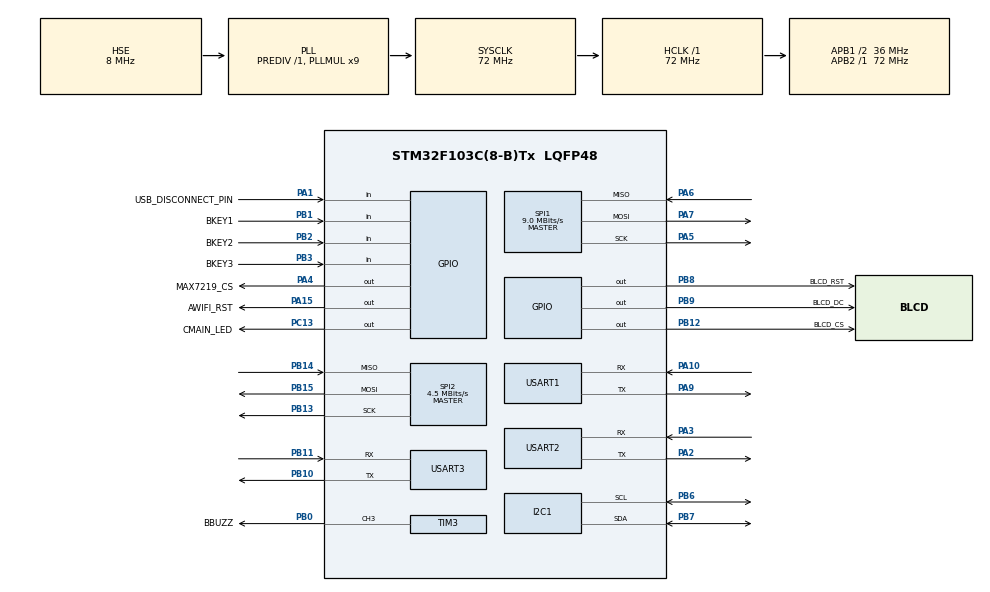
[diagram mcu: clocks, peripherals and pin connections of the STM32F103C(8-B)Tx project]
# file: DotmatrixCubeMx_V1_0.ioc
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Dma.Request0=USART3_RX
Dma.Request1=USART3_TX
Dma.Request2=USART2_RX
Dma.Request3=USART2_TX
Dma.Request4=USART1_RX
Dma.Request5=USART1_TX
Dma.USART1_RX.4.Direction=DMA_PERIPH_TO_MEMORY
Dma.USART1_RX.4.Instance=DMA1_Channel5
Dma.USART1_RX.4.MemDataAlignment=DMA_MDATAALIGN_BYTE
Dma.USART1_RX.4.MemInc=DMA_MINC_ENABLE
Dma.USART1_RX.4.Mode=DMA_CIRCULAR
Dma.USART1_RX.4.PeriphDataAlignment=DMA_PDATAALIGN_BYTE
Dma.USART1_RX.4.PeriphInc=DMA_PINC_DISABLE
Dma.USART1_RX.4.Priority=DMA_PRIORITY_LOW
Dma.USART1_TX.5.Direction=DMA_MEMORY_TO_PERIPH
Dma.USART1_TX.5.Instance=DMA1_Channel4
Dma.USART1_TX.5.MemDataAlignment=DMA_MDATAALIGN_BYTE
Dma.USART1_TX.5.MemInc=DMA_MINC_ENABLE
Dma.USART1_TX.5.Mode=DMA_NORMAL
Dma.USART1_TX.5.PeriphDataAlignment=DMA_PDATAALIGN_BYTE
Dma.USART1_TX.5.PeriphInc=DMA_PINC_DISABLE
Dma.USART1_TX.5.Priority=DMA_PRIORITY_LOW
Dma.USART2_RX.2.Direction=DMA_PERIPH_TO_MEMORY
Dma.USART2_RX.2.Instance=DMA1_Channel6
Dma.USART2_RX.2.MemDataAlignment=DMA_MDATAALIGN_BYTE
Dma.USART2_RX.2.MemInc=DMA_MINC_ENABLE
Dma.USART2_RX.2.Mode=DMA_CIRCULAR
Dma.USART2_RX.2.PeriphDataAlignment=DMA_PDATAALIGN_BYTE
Dma.USART2_RX.2.PeriphInc=DMA_PINC_DISABLE
Dma.USART2_RX.2.Priority=DMA_PRIORITY_LOW
Dma.USART2_TX.3.Direction=DMA_MEMORY_TO_PERIPH
Dma.USART2_TX.3.Instance=DMA1_Channel7
Dma.USART2_TX.3.MemDataAlignment=DMA_MDATAALIGN_BYTE
Dma.USART2_TX.3.MemInc=DMA_MINC_ENABLE
Dma.USART2_TX.3.Mode=DMA_NORMAL
Dma.USART2_TX.3.PeriphDataAlignment=DMA_PDATAALIGN_BYTE
Dma.USART2_TX.3.PeriphInc=DMA_PINC_DISABLE
Dma.USART2_TX.3.Priority=DMA_PRIORITY_LOW
Dma.USART3_RX.0.Direction=DMA_PERIPH_TO_MEMORY
Dma.USART3_RX.0.Instance=DMA1_Channel3
Dma.USART3_RX.0.MemDataAlignment=DMA_MDATAALIGN_BYTE
Dma.USART3_RX.0.MemInc=DMA_MINC_ENABLE
Dma.USART3_RX.0.Mode=DMA_CIRCULAR
Dma.USART3_RX.0.PeriphDataAlignment=DMA_PDATAALIGN_BYTE
Dma.USART3_RX.0.PeriphInc=DMA_PINC_DISABLE
Dma.USART3_RX.0.Priority=DMA_PRIORITY_LOW
Dma.USART3_TX.1.Direction=DMA_MEMORY_TO_PERIPH
Dma.USART3_TX.1.Instance=DMA1_Channel2
Dma.USART3_TX.1.MemDataAlignment=DMA_MDATAALIGN_BYTE
Dma.USART3_TX.1.MemInc=DMA_MINC_ENABLE
Dma.USART3_TX.1.Mode=DMA_NORMAL
Dma.USART3_TX.1.PeriphDataAlignment=DMA_PDATAALIGN_BYTE
Dma.USART3_TX.1.PeriphInc=DMA_PINC_DISABLE
Dma.USART3_TX.1.Priority=DMA_PRIORITY_LOW
Mcu.Family=STM32F1
Mcu.Name=STM32F103C(8-B)Tx
Mcu.Package=LQFP48
NVIC.DMA1_Channel2_IRQn=true\:0\:0\:false\:false\:true\:false\:true\:true
NVIC.DMA1_Channel3_IRQn=true\:0\:0\:false\:false\:true\:false\:true\:true
NVIC.DMA1_Channel4_IRQn=true\:0\:0\:false\:false\:true\:false\:true\:true
NVIC.DMA1_Channel5_IRQn=true\:0\:0\:false\:false\:true\:false\:true\:true
NVIC.DMA1_Channel6_IRQn=true\:0\:0\:false\:false\:true\:false\:true\:true
NVIC.DMA1_Channel7_IRQn=true\:0\:0\:false\:false\:true\:false\:true\:true
NVIC.PriorityGroup=NVIC_PRIORITYGROUP_4
NVIC.RTC_IRQn=true\:0\:0\:false\:false\:true\:true\:true\:true
NVIC.TIM2_IRQn=true\:0\:0\:false\:false\:true\:true\:true\:true
NVIC.USART1_IRQn=true\:0\:0\:false\:false\:true\:true\:true\:true
NVIC.USART2_IRQn=true\:0\:0\:false\:false\:true\:true\:true\:true
NVIC.USART3_IRQn=true\:0\:0\:false\:false\:true\:true\:true\:true
PA1.GPIO_Label=USB_DISCONNECT_PIN
PA1.GPIO_PuPd=GPIO_PULLUP
PA1.Signal=GPIO_Input
PA10.Mode=Asynchronous
PA10.Signal=USART1_RX
PA13.Mode=Serial_Wire
PA13.Signal=SYS_JTMS-SWDIO
PA14.Mode=Serial_Wire
PA14.Signal=SYS_JTCK-SWCLK
PA15.GPIO_Label=AWIFI_RST
PA15.GPIO_ModeDefaultOutputPP=GPIO_MODE_OUTPUT_PP
PA15.GPIO_PuPd=GPIO_PULLUP
PA15.GPIO_Speed=GPIO_SPEED_FREQ_LOW
PA15.PinState=GPIO_PIN_RESET
PA15.Signal=GPIO_Output
PA2.Mode=Asynchronous
PA2.Signal=USART2_TX
PA3.Mode=Asynchronous
PA3.Signal=USART2_RX
PA4.GPIO_Label=MAX7219_CS
PA4.GPIO_PuPd=GPIO_PULLUP
PA4.GPIO_Speed=GPIO_SPEED_FREQ_HIGH
PA4.PinState=GPIO_PIN_SET
PA4.Signal=GPIO_Output
PA5.Mode=Full_Duplex_Master
PA5.Signal=SPI1_SCK
PA6.Mode=Full_Duplex_Master
PA6.Signal=SPI1_MISO
PA7.Mode=Full_Duplex_Master
PA7.Signal=SPI1_MOSI
PA9.Mode=Asynchronous
PA9.Signal=USART1_TX
PB0.GPIO_Label=BBUZZ
PB0.Signal=S_TIM3_CH3
PB1.GPIO_Label=BKEY1
PB1.GPIO_PuPd=GPIO_PULLUP
PB1.Signal=GPIO_Input
PB10.Mode=Asynchronous
PB10.Signal=USART3_TX
PB11.Mode=Asynchronous
PB11.Signal=USART3_RX
PB12.GPIO_Label=BLCD_CS
PB12.GPIO_PuPd=GPIO_PULLUP
PB12.GPIO_Speed=GPIO_SPEED_FREQ_HIGH
PB12.PinState=GPIO_PIN_SET
PB12.Signal=GPIO_Output
PB13.Mode=Full_Duplex_Master
PB13.Signal=SPI2_SCK
PB14.Mode=Full_Duplex_Master
PB14.Signal=SPI2_MISO
PB15.Mode=Full_Duplex_Master
PB15.Signal=SPI2_MOSI
PB2.GPIO_Label=BKEY2
PB2.GPIO_PuPd=GPIO_PULLUP
PB2.Signal=GPIO_Input
PB3.GPIO_Label=BKEY3
PB3.GPIO_PuPd=GPIO_PULLUP
PB3.Signal=GPIO_Input
PB6.Mode=I2C
PB6.Signal=I2C1_SCL
PB7.Mode=I2C
PB7.Signal=I2C1_SDA
PB8.GPIO_Label=BLCD_RST
PB8.GPIO_PuPd=GPIO_PULLUP
PB8.GPIO_Speed=GPIO_SPEED_FREQ_HIGH
PB8.PinState=GPIO_PIN_SET
PB8.Signal=GPIO_Output
PB9.GPIO_Label=BLCD_DC
PB9.GPIO_ModeDefaultOutputPP=GPIO_MODE_OUTPUT_PP
PB9.GPIO_PuPd=GPIO_PULLUP
PB9.GPIO_Speed=GPIO_SPEED_FREQ_HIGH
PB9.PinState=GPIO_PIN_SET
PB9.Signal=GPIO_Output
PC13-TAMPER-RTC.GPIO_Label=CMAIN_LED
PC13-TAMPER-RTC.GPIO_PuPd=GPIO_PULLUP
PC13-TAMPER-RTC.GPIO_Speed=GPIO_SPEED_FREQ_HIGH
PC13-TAMPER-RTC.PinState=GPIO_PIN_SET
PC13-TAMPER-RTC.Signal=GPIO_Output
PC14-OSC32_IN.Mode=LSE-External-Oscillator
PC14-OSC32_IN.Signal=RCC_OSC32_IN
PC15-OSC32_OUT.Mode=LSE-External-Oscillator
PC15-OSC32_OUT.Signal=RCC_OSC32_OUT
PD0-OSC_IN.Mode=HSE-External-Oscillator
PD0-OSC_IN.Signal=RCC_OSC_IN
PD1-OSC_OUT.Mode=HSE-External-Oscillator
PD1-OSC_OUT.Signal=RCC_OSC_OUT
ProjectManager.HeapSize=0x200
ProjectManager.StackSize=0x400
ProjectManager.TargetToolchain=EWARM V8
RCC.AHBFreq_Value=72000000
RCC.APB1CLKDivider=RCC_HCLK_DIV2
RCC.APB1Freq_Value=36000000
RCC.APB1TimFreq_Value=72000000
RCC.APB2Freq_Value=72000000
RCC.APB2TimFreq_Value=72000000
RCC.HCLKFreq_Value=72000000
RCC.PLLMUL=RCC_PLL_MUL9
RCC.PLLSourceVirtual=RCC_PLLSOURCE_HSE
RCC.RTCClockSelection=RCC_RTCCLKSOURCE_LSE
RCC.SYSCLKFreq_VALUE=72000000
RCC.SYSCLKSource=RCC_SYSCLKSOURCE_PLLCLK
RCC.USBFreq_Value=72000000
RTC.AsynchPrediv=RTC_AUTO_1_SECOND
RTC.AutoPrediv=RTC_AUTO_1_SECOND
RTC.Date=8
RTC.Format=RTC_FORMAT_BIN
RTC.Hours=12
RTC.Month=RTC_MONTH_AUGUST
RTC.WeekDay=RTC_WEEKDAY_TUESDAY
RTC.Year=23
SH.S_TIM3_CH3.0=TIM3_CH3,PWM Generation3 CH3
SPI1.BaudRatePrescaler=SPI_BAUDRATEPRESCALER_8
SPI1.CRCCalculation=SPI_CRCCALCULATION_DISABLE
SPI1.CalculateBaudRate=9.0 MBits/s
SPI1.Direction=SPI_DIRECTION_2LINES
SPI1.Mode=SPI_MODE_MASTER
SPI1.VirtualType=VM_MASTER
SPI2.BaudRatePrescaler=SPI_BAUDRATEPRESCALER_8
SPI2.CLKPhase=SPI_PHASE_2EDGE
SPI2.CLKPolarity=SPI_POLARITY_HIGH
SPI2.CalculateBaudRate=4.5 MBits/s
SPI2.Direction=SPI_DIRECTION_2LINES
SPI2.Mode=SPI_MODE_MASTER
SPI2.VirtualType=VM_MASTER
TIM2.AutoReloadPreload=TIM_AUTORELOAD_PRELOAD_ENABLE
TIM2.Period=(1000-1)
TIM2.Prescaler=(72-1)
TIM3.Channel-PWM\ Generation3\ CH3=TIM_CHANNEL_3
TIM3.OCMode_PWM-PWM\ Generation3\ CH3=TIM_OCMODE_PWM2
TIM3.OCPolarity_3=TIM_OCPOLARITY_LOW
TIM3.Prescaler=(72-1)
USART1.VirtualMode=VM_ASYNC
USART2.VirtualMode=VM_ASYNC
USART3.VirtualMode=VM_ASYNC
VP_RTC_No_RTC_Output.Mode=RTC_OUT_NO
VP_RTC_VS_RTC_Activate.Mode=RTC_Enabled
VP_RTC_VS_RTC_Calendar.Mode=RTC_Calendar
VP_TIM2_VS_ClockSourceINT.Mode=Internal
board=custom

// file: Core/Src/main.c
/* USER CODE BEGIN Header */
/**
  ******************************************************************************
  * @file           : main.c
  * @brief          : Main program body
  ******************************************************************************
  * @attention
  *
  * Copyright (c) 2023 STMicroelectronics.
  * All rights reserved.
  *
  * This software is licensed under terms that can be found in the LICENSE file
  * in the root directory of this software component.
  * If no LICENSE file comes with this software, it is provided AS-IS.
  *
  ******************************************************************************
  */
/* USER CODE END Header */
#include "main.h"
#include "dma.h"
#include "i2c.h"
#include "rtc.h"
#include "spi.h"
#include "tim.h"
#include "usart.h"
#include "gpio.h"

/* USER CODE BEGIN Includes */
#include "stdio.h"
#include "BiosApp.h"
/* USER CODE END Includes */

/* USER CODE BEGIN PV */
u8 FirmWareVer[20] = {"Dotmatrix_v1.1.1\0"};
/* USER CODE END PV */

void SystemClock_Config(void);
/* USER CODE BEGIN PFP */
  typedef struct
  {
    uint32_t SYSCLK_Frequency;        /*!< SYSCLK clock frequency */
    uint32_t HCLK_Frequency;          /*!< HCLK clock frequency */
    uint32_t PCLK1_Frequency;         /*!< PCLK1 clock frequency */
    uint32_t PCLK2_Frequency;         /*!< PCLK2 clock frequency */
  } RCC_ClocksTypeDef;

/* USER CODE END PFP */

/* USER CODE BEGIN 0 */
void InitMessage(void)
{
	RCC_ClocksTypeDef SYS_Clocks;

  SYS_Clocks.SYSCLK_Frequency = HAL_RCC_GetSysClockFreq();
  SYS_Clocks.HCLK_Frequency = HAL_RCC_GetHCLKFreq();
  SYS_Clocks.PCLK1_Frequency = HAL_RCC_GetPCLK1Freq();
  SYS_Clocks.PCLK2_Frequency = HAL_RCC_GetPCLK2Freq();

  Work_PortMsgLog(PORT_UART3, "\r\n");
  Work_PortMsgLog(PORT_UART3, "\r\n===========================================");
  Work_PortMsgLog(PORT_UART3, "\r\n=         STM32F103CBT6 CPU Test          =");
  Work_PortMsgLog(PORT_UART3, "\r\n=           (ST Cortex-M3 Core)           =");
  Work_PortMsgLog(PORT_UART3, "\r\n=        (C) COPYRIGHT 2023 cshong        =");
  Work_PortMsgLog(PORT_UART3, "\r\n===========================================");
  Work_PortMsgLog(PORT_UART3, "\r\n=         Firmware Ver.  %s               =", FirmWareVer);
  Work_PortMsgLog(PORT_UART3, "\r\n=           SYSCLK   :   %dMHz            =", SYS_Clocks.SYSCLK_Frequency/1000000);
  Work_PortMsgLog(PORT_UART3, "\r\n=           HCLK     :   %dMHz            =", SYS_Clocks.HCLK_Frequency/1000000);
  Work_PortMsgLog(PORT_UART3, "\r\n=           PCLK1    :   %dMHz            =", SYS_Clocks.PCLK1_Frequency/1000000);
  Work_PortMsgLog(PORT_UART3, "\r\n=           PCLK2    :   %dMHz            =", SYS_Clocks.PCLK2_Frequency/1000000);
  Work_PortMsgLog(PORT_UART3, "\r\n===========================================");
  Work_PortMsgLog(PORT_UART3, "\r\n");

  sys.MatrixNum    = 999980;
  sys.Count        = 0;
  sys.DispDot      = ON;
  sys.AlNow        = OFF;
}
/* USER CODE END 0 */

int main(void)
{
  /* USER CODE BEGIN 1 */
  //static uint8_t fTimeUpdate=0;
	//uint8_t  cnt;
  //uint8_t  timeBuf[8];//, cnt1, cnt2, cnt3;
  /* USER CODE END 1 */

  /* MCU Configuration--------------------------------------------------------*/

  /* Reset of all peripherals, Initializes the Flash interface and the Systick. */
  HAL_Init();

  /* Configure the system clock */
  SystemClock_Config();

  /* USER CODE BEGIN SysInit */
	sys.DispDot = OFF;
	sys.DispOLED = OFF;
  /* USER CODE END SysInit */

  /* Initialize all configured peripherals */
	MX_GPIO_Init();
	MX_DMA_Init();
	MX_TIM2_Init();
	MX_USART1_UART_Init();
	MX_USART2_UART_Init();
	MX_USART3_UART_Init();
	MX_SPI1_Init();
	MX_I2C1_Init();
	MX_SPI2_Init();
	MX_TIM3_Init();
	MX_RTC_Init();
  /* USER CODE BEGIN 2 */

	InitWiFi();
	InitFlashMemory();
	InitUart();
	InitMessage();
	SetBuzzer(BUZZ_MAIN);
	InitMax7219();
	InitOLED();

  /* USER CODE END 2 */

  /* Infinite loop */
  /* USER CODE BEGIN WHILE */
	while (1)
	{
		//USBProcess();
		KeyProcess();
		AppProcess();
		SerialDust();
		SerialWifi();
		DotMatrix();
		WifiProcess(sys.WiFiSeq);
    /* USER CODE END WHILE */

    /* USER CODE BEGIN 3 */
		// if(GetTimer(TMR_ID_UART_SEND) == 0)
		// {
		// 	SetTimer(TMR_ID_UART_SEND, 500);
		// 	Work_PortMsgLog(PORT_UART1, "[UART1] Tick Count %2d : %2d : %2d", sys.time.hour, sys.time.min, sys.time.sec);
		// 	// Work_PortMsgLog(PORT_UART3, "[UART3] Tick Count %2d : %2d : %2d", sys.time.hour, sys.time.min, sys.time.sec);

		// 	Work_SendMessageLog("[UART3] Tick Count %2d : %2d : %2d", sys.time.hour, sys.time.min, sys.time.sec);
		// }
	}

  /* USER CODE END 3 */
}

void SystemClock_Config(void)
{
  RCC_OscInitTypeDef RCC_OscInitStruct = {0};
  RCC_ClkInitTypeDef RCC_ClkInitStruct = {0};
  RCC_PeriphCLKInitTypeDef PeriphClkInit = {0};

  /** Initializes the RCC Oscillators according to the specified parameters
  * in the RCC_OscInitTypeDef structure.
  */
  RCC_OscInitStruct.OscillatorType = RCC_OSCILLATORTYPE_HSE|RCC_OSCILLATORTYPE_LSE;
  RCC_OscInitStruct.HSEState = RCC_HSE_ON;
  RCC_OscInitStruct.HSEPredivValue = RCC_HSE_PREDIV_DIV1;
  RCC_OscInitStruct.LSEState = RCC_LSE_ON;
  RCC_OscInitStruct.HSIState = RCC_HSI_ON;
  RCC_OscInitStruct.PLL.PLLState = RCC_PLL_ON;
  RCC_OscInitStruct.PLL.PLLSource = RCC_PLLSOURCE_HSE;
  RCC_OscInitStruct.PLL.PLLMUL = RCC_PLL_MUL9;
  if (HAL_RCC_OscConfig(&RCC_OscInitStruct) != HAL_OK)
  {
    Error_Handler();
  }

  /** Initializes the CPU, AHB and APB buses clocks
  */
  RCC_ClkInitStruct.ClockType = RCC_CLOCKTYPE_HCLK|RCC_CLOCKTYPE_SYSCLK
                              |RCC_CLOCKTYPE_PCLK1|RCC_CLOCKTYPE_PCLK2;
  RCC_ClkInitStruct.SYSCLKSource = RCC_SYSCLKSOURCE_PLLCLK;
  RCC_ClkInitStruct.AHBCLKDivider = RCC_SYSCLK_DIV1;
  RCC_ClkInitStruct.APB1CLKDivider = RCC_HCLK_DIV2;
  RCC_ClkInitStruct.APB2CLKDivider = RCC_HCLK_DIV1;

  if (HAL_RCC_ClockConfig(&RCC_ClkInitStruct, FLASH_LATENCY_2) != HAL_OK)
  {
    Error_Handler();
  }
  PeriphClkInit.PeriphClockSelection = RCC_PERIPHCLK_RTC;
  PeriphClkInit.RTCClockSelection = RCC_RTCCLKSOURCE_LSE;
  if (HAL_RCCEx_PeriphCLKConfig(&PeriphClkInit) != HAL_OK)
  {
    Error_Handler();
  }
}

void Error_Handler(void)
{
  __disable_irq();
  while (1)
  {
  }
}
